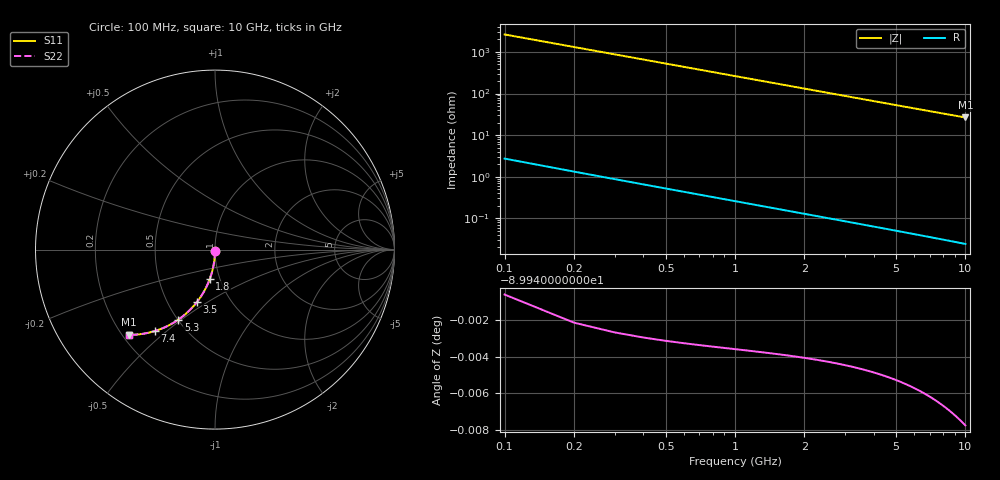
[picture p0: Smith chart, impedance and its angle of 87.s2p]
# Hz S RI R 50.00
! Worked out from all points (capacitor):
!   100 points, 100 MHz to 10 GHz, reference 50 ohm
!   read as one part in shunt: C = 605 fF near 100 MHz
!   lowest |Z| = 26.6 ohm at 10 GHz (marker M1)
!   S11 on the Smith chart (normalised r, x): 100 MHz: 1.00, -0.02; 1.8 GHz: 0.90, -0.30; 3.5 GHz: 0.70, -0.45; 5.3 GHz: 0.50, -0.49; 7.4 GHz: 0.34, -0.46; 10 GHz: 0.23, -0.39
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1e8  -2.08e-05 -0.00926  0.9998 -0.00974  0.9998 -0.00974  -2.08e-05 -0.00926
2e8  -0.0003 -0.0185  0.9995 -0.0195  0.9995 -0.0195  -0.0003 -0.0185
3e8  -0.00076 -0.0278  0.9991 -0.0292  0.9991 -0.0292  -0.00076 -0.0278
4e8  -0.0014 -0.037  0.9984 -0.0389  0.9984 -0.0389  -0.0014 -0.037
5e8  -0.00222 -0.0462  0.9976 -0.0486  0.9976 -0.0486  -0.00222 -0.0462
6e8  -0.00321 -0.0554  0.9966 -0.0583  0.9966 -0.0583  -0.00321 -0.0554
8e8  -0.00574 -0.0737  0.9941 -0.0775  0.9941 -0.0775  -0.00574 -0.0737
1.1e9  -0.0108 -0.1008  0.989 -0.106  0.989 -0.106  -0.0108 -0.1008
1.4e9  -0.0174 -0.1274  0.9824 -0.1341  0.9824 -0.1341  -0.0174 -0.1274
1.8e9  -0.0285 -0.1619  0.9713 -0.1705  0.9713 -0.1705  -0.0285 -0.1619
2.1e9  -0.0384 -0.187  0.9614 -0.197  0.9614 -0.197  -0.0384 -0.187
2.5e9  -0.0536 -0.219  0.9461 -0.231  0.9461 -0.231  -0.0536 -0.219
2.9e9  -0.0709 -0.2494  0.9289 -0.2633  0.9289 -0.2633  -0.0709 -0.2494
3.4e9  -0.095 -0.2847  0.9047 -0.301  0.9047 -0.301  -0.095 -0.2847
3.5e9  -0.1001 -0.2914  0.8996 -0.3082  0.8996 -0.3082  -0.1001 -0.2914
4.3e9  -0.1439 -0.3404  0.8557 -0.361  0.8557 -0.361  -0.1439 -0.3404
5.1e9  -0.1915 -0.3809  0.8081 -0.4054  0.8081 -0.4054  -0.1915 -0.3809
5.3e9  -0.2037 -0.3897  0.7958 -0.4152  0.7958 -0.4152  -0.2037 -0.3897
6.7e9  -0.2909 -0.4377  0.7084 -0.47  0.7084 -0.47  -0.2909 -0.4377
7.4e9  -0.334 -0.4534  0.6652 -0.4892  0.6652 -0.4892  -0.334 -0.4534
8.4e9  -0.3932 -0.4677  0.6058 -0.5084  0.6058 -0.5084  -0.3932 -0.4677
1e10  -0.48 -0.4747  0.5186 -0.5235  0.5186 -0.5235  -0.48 -0.4747
